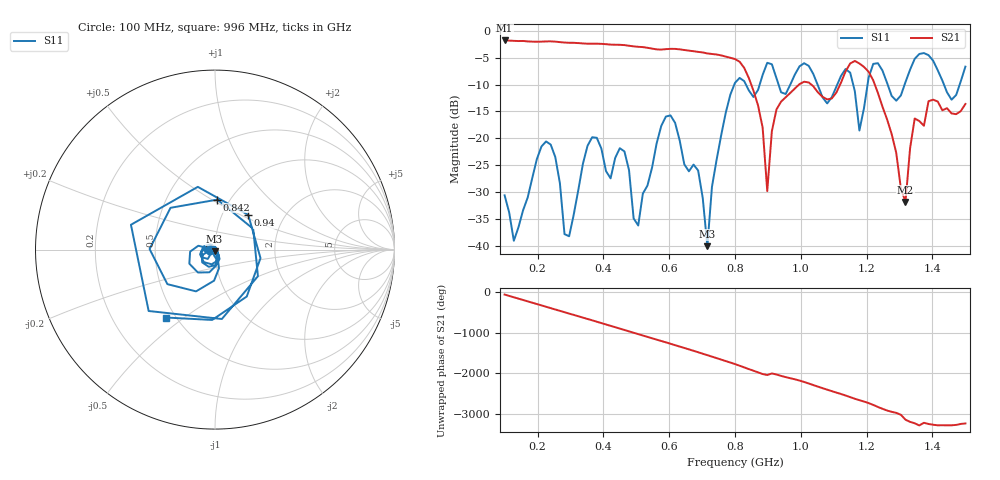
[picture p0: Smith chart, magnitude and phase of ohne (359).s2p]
! NanoVNA-App
! Date: 2025-09-25 14:23:35
! Start: 100MHz Stop: 1,5GHz Points: 101
! S-Parameter data: F S11 S21 S12 S22
# Hz S RI R 50
!  Frequency  S11_Real  S11_Imag  S21_Real  S21_Imag  S12_Real  S12_Imag  S22_Real  S22_Imag
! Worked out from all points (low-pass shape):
!   101 points, 100 MHz to 1.5 GHz, reference 50 ohm
!   highest |S21| = -1.79 dB at 100 MHz (marker M1); lowest = -31.9 dB at 1.318 GHz (marker M2)
!   |S21| within 3 dB of the highest: start of sweep to 771.3 MHz
!   lowest |S11| = -40.1 dB at 716 MHz (marker M3), VSWR 1.02, Z = 49.7 - j0.951 ohm
!   |S11| at or under -10 dB: start of sweep to 798 MHz; 833.1 MHz to 875.1 MHz (41.94 MHz wide, 4.91 % of centre); 1.051 GHz to 1.111 GHz (60.03 MHz wide, 5.55 % of centre) (the widest 3 of 7)
!   S12 and S22 are empty: the file has one direction only
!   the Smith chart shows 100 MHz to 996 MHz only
!   S11 on the Smith chart (normalised r, x): 100 MHz: 0.94, -0.01; 842 MHz: 0.88, +0.53; 940 MHz: 1.32, +0.55; 996 MHz: 0.44, -0.43
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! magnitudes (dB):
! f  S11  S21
! 100 MHz  -30.6  -1.8
! 128 MHz  -39.1  -1.9
! 226 MHz  -20.6  -2.0
! 296 MHz  -38.3  -2.2
! 338 MHz  -24.7  -2.3
! 464 MHz  -22.5  -2.7
! 506 MHz  -36.2  -3.0
! 576 MHz  -17.7  -3.5
! 688 MHz  -26.0  -3.9
! 716 MHz  -40.1  -4.2
! 800 MHz  -9.7  -5.3
! 842 MHz  -11.1  -8.8
! 898 MHz  -6.0  -29.8
! 940 MHz  -11.4  -13.2
! 996 MHz  -6.6  -9.9
! 1.038 GHz  -8.1  -10.3
! 1.178 GHz  -18.6  -6.1
! 1.22 GHz  -6.2  -9.2
! 1.276 GHz  -12.1  -19.2
! 1.318 GHz  -9.5  -31.9
! 1.346 GHz  -5.2  -16.3
! 1.5 GHz  -6.7  -13.6
